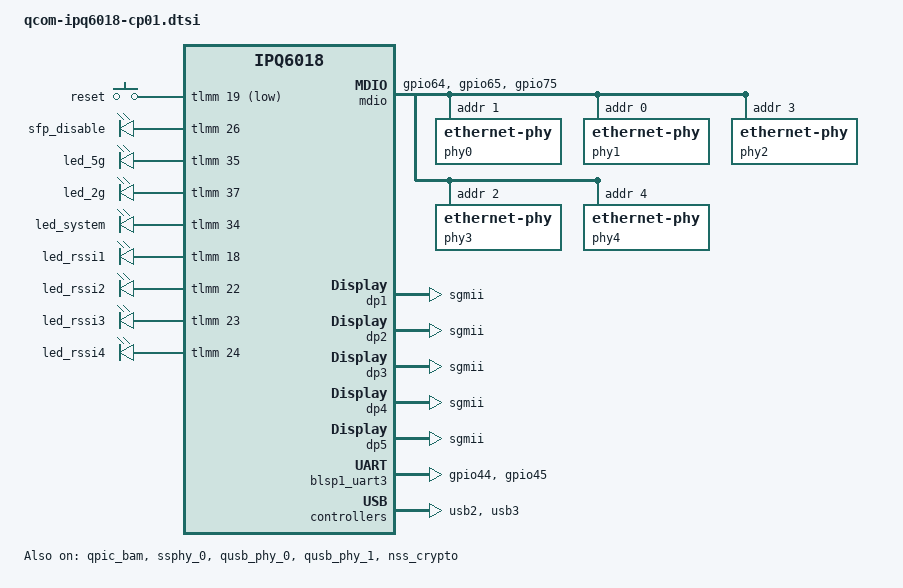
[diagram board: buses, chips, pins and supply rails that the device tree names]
/*
 * Copyright (c) 2019, The Linux Foundation. All rights reserved.
 *
 * Permission to use, copy, modify, and/or distribute this software for any
 * purpose with or without fee is hereby granted, provided that the above
 * copyright notice and this permission notice appear in all copies.
 *
 * THE SOFTWARE IS PROVIDED "AS IS" AND THE AUTHOR DISCLAIMS ALL WARRANTIES
 * WITH REGARD TO THIS SOFTWARE INCLUDING ALL IMPLIED WARRANTIES OF
 * MERCHANTABILITY AND FITNESS. IN NO EVENT SHALL THE AUTHOR BE LIABLE FOR
 * ANY SPECIAL, DIRECT, INDIRECT, OR CONSEQUENTIAL DAMAGES OR ANY DAMAGES
 * WHATSOEVER RESULTING FROM LOSS OF USE, DATA OR PROFITS, WHETHER IN AN
 * ACTION OF CONTRACT, NEGLIGENCE OR OTHER TORTIOUS ACTION, ARISING OUT OF
 * OR IN CONNECTION WITH THE USE OR PERFORMANCE OF THIS SOFTWARE.
 */

#include "qcom-ipq6018.dtsi"
#include <dt-bindings/input/input.h>
#include <dt-bindings/gpio/gpio.h>

/ {
	#address-cells = <0x2>;
	#size-cells = <0x2>;
	compatible = "qcom,ipq6018-cp01", "qcom,ipq6018";
	interrupt-parent = <&intc>;
	qcom,msm-id = <0x192 0x0>, <0x193 0x0>;

	aliases {
		serial0 = &blsp1_uart3;
		sdhc1 = &sdhc_1;
		/*
		 * Aliases as required by u-boot
		 * to patch MAC addresses
		 */
		ethernet0 = "/soc/dp1";
		ethernet1 = "/soc/dp2";
		ethernet2 = "/soc/dp3";
		ethernet3 = "/soc/dp4";
		ethernet4 = "/soc/dp5";
	};

	chosen {
		bootargs = "console=ttyMSM0,115200,n8 rw init=/init";
#ifdef __IPQ_MEM_PROFILE_256_MB__
		bootargs-append = " swiotlb=1";
#else
		bootargs-append = " swiotlb=1 coherent_pool=2M";
#endif
	};

};

&tlmm {
	uart_pins: uart_pins {
		mux {
			pins = "gpio44", "gpio45";
			function = "blsp2_uart";
			drive-strength = <8>;
			bias-pull-down;
		};
	};

	qpic_pins: qpic_pins {
		data_0 {
			pins = "gpio15";
			function = "qpic_pad0";
			drive-strength = <8>;
			bias-pull-down;
		};
		data_1 {
			pins = "gpio12";
			function = "qpic_pad1";
			drive-strength = <8>;
			bias-pull-down;
		};
		data_2 {
			pins = "gpio13";
			function = "qpic_pad2";
			drive-strength = <8>;
			bias-pull-down;
		};
		data_3 {
			pins = "gpio14";
			function = "qpic_pad3";
			drive-strength = <8>;
			bias-pull-down;
		};
		data_4 {
			pins = "gpio5";
			function = "qpic_pad4";
			drive-strength = <8>;
			bias-pull-down;
		};
		data_5 {
			pins = "gpio6";
			function = "qpic_pad5";
			drive-strength = <8>;
			bias-pull-down;
		};
		data_6 {
			pins = "gpio7";
			function = "qpic_pad6";
			drive-strength = <8>;
			bias-pull-down;
		};
		data_7 {
			pins = "gpio8";
			function = "qpic_pad7";
			drive-strength = <8>;
			bias-pull-down;
		};
		qpic_pad {
			pins = "gpio1", "gpio3", "gpio4",
			       "gpio10", "gpio11", "gpio17";
			function = "qpic_pad";
			drive-strength = <8>;
			bias-pull-down;
		};
	};

	button_pins: button_pins {
		reset_button {
			pins = "gpio19";
			function = "gpio";
			drive-strength = <8>;
			bias-pull-up;
		};
	};

	mdio_pins: mdio_pinmux {
		mux_0 {
			pins = "gpio64";
			function = "mdc";
			drive-strength = <8>;
			bias-pull-up;
		};
		mux_1 {
			pins = "gpio65";
			function = "mdio";
			drive-strength = <8>;
			bias-pull-up;
		};
		mux_2 {
			pins = "gpio75";
			function = "gpio";
			bias-pull-up;
		};
	};

	leds_pins: leds_pins {
		led_5g {
			pins = "gpio35";
			function = "gpio";
			drive-strength = <8>;
			bias-pull-down;
		};
		led_2g {
			pins = "gpio37";
			function = "gpio";
			drive-strength = <8>;
			bias-pull-down;
		};
		led_system {
			pins = "gpio34";
			function = "gpio";
			drive-strength = <8>;
			bias-pull-down;
		};
		led_rssi4 {
			pins = "gpio24";
			function = "gpio";
			drive-strength = <8>;
			bias-pull-down;
		};
		led_rssi3 {
			pins = "gpio23";
			function = "gpio";
			drive-strength = <8>;
			bias-pull-down;
		};
		led_rssi2 {
			pins = "gpio22";
			function = "gpio";
			drive-strength = <8>;
			bias-pull-down;
		};
		led_rssi1 {
			pins = "gpio18";
			function = "gpio";
			drive-strength = <8>;
			bias-pull-down;
		};
		sfp_disable {
			pins = "gpio26";
			function = "gpio";
			drive-strength = <8>;
			bias-pull-up;
		};
		m_gpio {
			pins = "gpio29", "gpio30", "gpio31", "gpio32","gpio33";
			function = "gpio";
			drive-strength = <8>;
			bias-pull-up;
		};
	};

	hsuart_pins: hsuart_pins {
		mux {
			pins = "gpio71", "gpio72", "gpio69", "gpio70";
			function = "blsp1_uart";
			drive-strength = <8>;
			bias-disable;
		};
	};
};

&soc {
	mdio: mdio@90000 {
		pinctrl-0 = <&mdio_pins>;
		pinctrl-names = "default";
		phy-reset-gpio = <&tlmm 75 0>;
		status = "ok";
		phy0: ethernet-phy@0 {
			reg = <1>;
		};
		phy1: ethernet-phy@1 {
			reg = <0>;
		};
		phy2: ethernet-phy@2 {
			reg = <3>;
		};
		phy3: ethernet-phy@3 {
			reg = <2>;
		};
		phy4: ethernet-phy@4 {
			reg = <4>;
		};
	};

	dp1 {
		device_type = "network";
		compatible = "qcom,nss-dp";
		qcom,id = <2>;
		reg = <0x3a001000 0x200>;
		qcom,mactype = <0>;
		local-mac-address = [000000000000];
		qcom,link-poll = <1>;
		qcom,phy-mdio-addr = <1>;
		phy-mode = "sgmii";
	};

	dp2 {
		device_type = "network";
		compatible = "qcom,nss-dp";
		qcom,id = <1>;
		reg = <0x3a001200 0x200>;
		qcom,mactype = <0>;
		local-mac-address = [000000000000];
		qcom,link-poll = <1>;
		qcom,phy-mdio-addr = <0>;
		phy-mode = "sgmii";
	};

	dp3 {
		device_type = "network";
		compatible = "qcom,nss-dp";
		qcom,id = <4>;
		reg = <0x3a001400 0x200>;
		qcom,mactype = <0>;
		local-mac-address = [000000000000];
		qcom,link-poll = <1>;
		qcom,phy-mdio-addr = <3>;
		phy-mode = "sgmii";
	};

	dp4 {
		device_type = "network";
		compatible = "qcom,nss-dp";
		qcom,id = <3>;
		reg = <0x3a001600 0x200>;
		qcom,mactype = <0>;
		local-mac-address = [000000000000];
		qcom,link-poll = <1>;
		qcom,phy-mdio-addr = <2>;
		phy-mode = "sgmii";
	};
	
	dp5 {
		device_type = "network";
		compatible = "qcom,nss-dp";
		qcom,id = <5>;
		reg = <0x3a001800 0x200>;
		qcom,mactype = <0>;
		local-mac-address = [000000000000];
		qcom,link-poll = <1>;
		qcom,phy-mdio-addr = <4>;
		phy-mode = "sgmii";
	};

	ess-switch@3a000000 {
		switch_cpu_bmp = <0x1>;  /* cpu port bitmap */
		switch_lan_bmp = <0x1e>; /* lan port bitmap */
		switch_wan_bmp = <0x20>; /* wan port bitmap */
		switch_inner_bmp = <0xc0>; /*inner port bitmap*/
		switch_mac_mode = <0x0>; /* mac mode for uniphy instance0*/
		switch_mac_mode1 = <0xff>; /* mac mode for uniphy instance1*/
		switch_mac_mode2 = <0xff>; /* mac mode for uniphy instance2*/
		qcom,port_phyinfo {
			port@0 {
				port_id = <1>;
				phy_address = <0>;
			};
			port@1 {
				port_id = <2>;
				phy_address = <1>;
			};
			port@2 {
				port_id = <3>;
				phy_address = <2>;
			};
			port@3 {
				port_id = <4>;
				phy_address = <3>;
			};
			port@4 {
				port_id = <5>;
				phy_address = <4>;
			};
		};
	};

	gpio_keys {
		compatible = "gpio-keys";
		pinctrl-0 = <&button_pins>;
		pinctrl-names = "default";

		reset {
			label = "reset";
			linux,code = <KEY_RESTART>;
			gpios = <&tlmm 19 GPIO_ACTIVE_LOW>;
			linux,input-type = <1>;
			debounce-interval = <60>;
		};
	};

	leds {
		compatible = "gpio-leds";  /* Fiber sfp interface sfp_disable ,Pull Low */
		pinctrl-0 = <&leds_pins>;
		pinctrl-names = "default";
		
		led@26 {
			label = "sfp_disable";	
			gpios = <&tlmm 26 GPIO_ACTIVE_HIGH>;
			linux,default-trigger = "sfp_disable";
			default-state = "off";
		};
		led@35 {
			label = "led_5g";
			gpios = <&tlmm 35 GPIO_ACTIVE_HIGH>;
			linux,default-trigger = "led_5g";
			default-state = "off";
		};
		led@37 {
			label = "led_2g";
			gpios = <&tlmm 37 GPIO_ACTIVE_HIGH>;
			linux,default-trigger = "led_2g";
			default-state = "off";
		};
		led@34 {
			label = "led_system";
			gpios = <&tlmm 34 GPIO_ACTIVE_HIGH>;
			linux,default-trigger = "timer";
			default-state = "off";
		};
		led@18 {
			label = "led_rssi1";
			gpios = <&tlmm 18 GPIO_ACTIVE_HIGH>;
			linux,default-trigger = "rssi1";
			default-state = "off";
		};
		led@22 {
			label = "led_rssi2";
			gpios = <&tlmm 22 GPIO_ACTIVE_HIGH>;
			linux,default-trigger = "rssi2";
			default-state = "off";
		};
		led@23 {
			label = "led_rssi3";
			gpios = <&tlmm 23 GPIO_ACTIVE_HIGH>;
			linux,default-trigger = "rssi3";
			default-state = "off";
		};
		led@24 {
			label = "led_rssi4";
			gpios = <&tlmm 24 GPIO_ACTIVE_HIGH>;
			linux,default-trigger = "rssi4";
			default-state = "off";
		};
	};
};

&blsp1_uart3 {
	pinctrl-0 = <&uart_pins>;
	pinctrl-names = "default";
	status = "ok";
};

&qpic_bam {
	status = "ok";
};

&ssphy_0 {
	status = "ok";
};

&qusb_phy_0 {
	status = "ok";
};

&qusb_phy_1 {
	status = "ok";
};

&usb2 {
	status = "ok";
};

&usb3 {
	status = "ok";
};

&nss_crypto {
	status = "ok";
};


